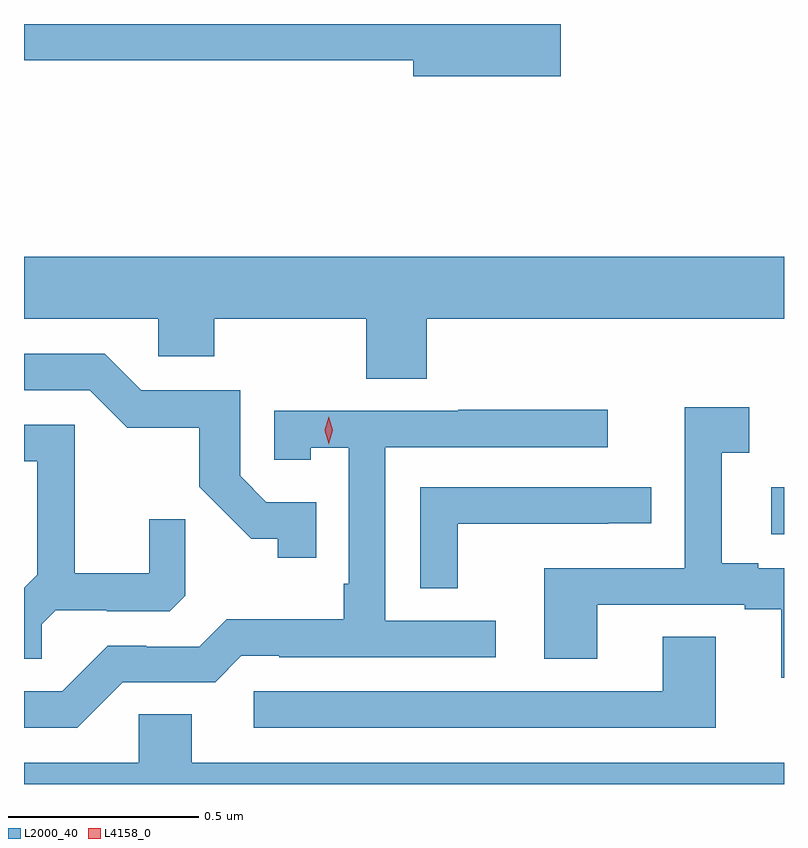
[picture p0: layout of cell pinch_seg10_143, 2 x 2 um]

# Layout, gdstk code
import gdstk
lib = gdstk.Library(unit=1e-6, precision=1e-09)
def R(c, l, rs):  # rectangles x0, y0, x1, y1
    for r in rs: c.add(gdstk.rectangle(r[:2], r[2:], *l))
def P(c, l, *ps):  # polygons
    for p in ps: c.add(gdstk.Polygon(p, *l))
L2000_40 = (2000, 40)
L4158_0 = (4158, 0)

pinch_seg10_143 = lib.new_cell('pinch_seg10_143')
R(pinch_seg10_143, L2000_40, [(732.609,1274.441,732.642,1274.565)])
P(pinch_seg10_143, L2000_40, [(732.055,1275.784),(730.642,1275.784),(730.642,1275.688),(731.666,1275.688),(731.666,1275.646),(732.055,1275.646)],
  [(731.702,1275.008),(732.642,1275.008),(732.642,1275.172),(730.642,1275.172),(730.642,1275.008),(730.995,1275.008),(730.995,1274.91),(731.142,1274.91),(731.142,1275.008),(731.542,1275.008),(731.542,1274.851),(731.702,1274.851)],
  [(731.411,1274.526),(731.28,1274.526),(731.211,1274.595),(731.211,1274.82),(730.95,1274.82),(730.854,1274.916),(730.642,1274.916),(730.642,1274.82),(730.815,1274.82),(730.914,1274.722),(731.103,1274.722),(731.103,1274.566),(731.24,1274.429),(731.31,1274.429),(731.31,1274.379),(731.411,1274.379)],
  [(732.642,1274.352),(732.574,1274.352),(732.574,1274.365),(732.478,1274.365),(732.478,1274.656),(732.55,1274.656),(732.55,1274.776),(732.381,1274.776),(732.381,1274.352),(732.011,1274.352),(732.011,1274.113),(732.151,1274.113),(732.151,1274.256),(732.539,1274.256),(732.539,1274.244),(732.635,1274.244),(732.635,1274.064),(732.642,1274.064)],
  [(730.902,1274.052),(731.145,1274.052),(731.214,1274.121),(731.314,1274.121),(731.314,1274.118),(731.884,1274.118),(731.884,1274.214),(731.592,1274.214),(731.592,1274.67),(732.178,1274.67),(732.178,1274.769),(731.785,1274.769),(731.785,1274.766),(731.301,1274.766),(731.301,1274.637),(731.397,1274.637),(731.397,1274.669),(731.496,1274.669),(731.496,1274.311),(731.484,1274.311),(731.484,1274.218),(731.176,1274.218),(731.103,1274.145),(730.964,1274.145),(730.964,1274.148),(730.863,1274.148),(730.743,1274.028),(730.642,1274.028),(730.642,1273.932),(730.782,1273.932)],
  [(730.689,1274.204),(730.726,1274.241),(730.86,1274.241),(730.86,1274.238),(731.025,1274.238),(731.066,1274.279),(731.066,1274.481),(730.972,1274.481),(730.972,1274.338),(730.775,1274.338),(730.775,1274.73),(730.642,1274.73),(730.642,1274.634),(730.677,1274.634),(730.677,1274.335),(730.642,1274.3),(730.642,1274.113),(730.689,1274.113)],
  [(731.784,1274.469),(732.179,1274.469),(732.179,1274.47),(732.292,1274.47),(732.292,1274.565),(731.685,1274.565),(731.685,1274.299),(731.784,1274.299)],
  [(732.463,1274.171),(732.323,1274.171),(732.323,1274.028),(731.247,1274.028),(731.247,1273.932),(732.463,1273.932)],
  [(732.642,1273.84),(731.083,1273.84),(731.083,1273.967),(730.944,1273.967),(730.944,1273.84),(730.642,1273.84),(730.642,1273.784),(732.642,1273.784)])
P(pinch_seg10_143, L4158_0, [(731.444,1274.678),(731.444,1274.679),(731.434,1274.715),(731.444,1274.751),(731.444,1274.751),(731.444,1274.751),(731.454,1274.715),(731.444,1274.679)])

lib.write_gds('pinch_seg10_143.gds')
